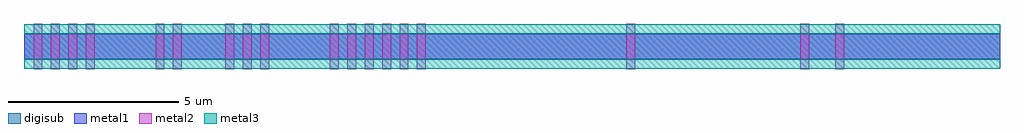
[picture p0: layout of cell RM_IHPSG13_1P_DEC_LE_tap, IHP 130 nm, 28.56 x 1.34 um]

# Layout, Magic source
magic
tech ihp-sg13cmos5l
<< digisub >>
rect 0 1710 2856 1784
<< metal1 >>
rect 0 1710 2856 1784
<< metal2 >>
rect 28 1680 54 1814
rect 79 1680 105 1814
rect 130 1680 156 1814
rect 181 1680 207 1814
rect 385 1680 411 1814
rect 436 1680 462 1814
rect 589 1680 615 1814
rect 640 1680 666 1814
rect 691 1680 717 1814
rect 895 1680 921 1814
rect 946 1680 972 1814
rect 997 1680 1023 1814
rect 1048 1680 1074 1814
rect 1099 1680 1125 1814
rect 1150 1680 1176 1814
rect 1762 1680 1788 1814
rect 2272 1680 2298 1814
rect 2374 1680 2400 1814
<< metal3 >>
rect 0 1784 2856 1812
rect 0 1682 2856 1710
<< properties >>
string GDS_END 222056
string GDS_FILE $PDKPATH/libs.ref/sg13cmos5l_sram/gds/RM_IHPSG13_1P_1024x8_c2_bm_bist.gds
string GDS_START 220644
<< end >>
